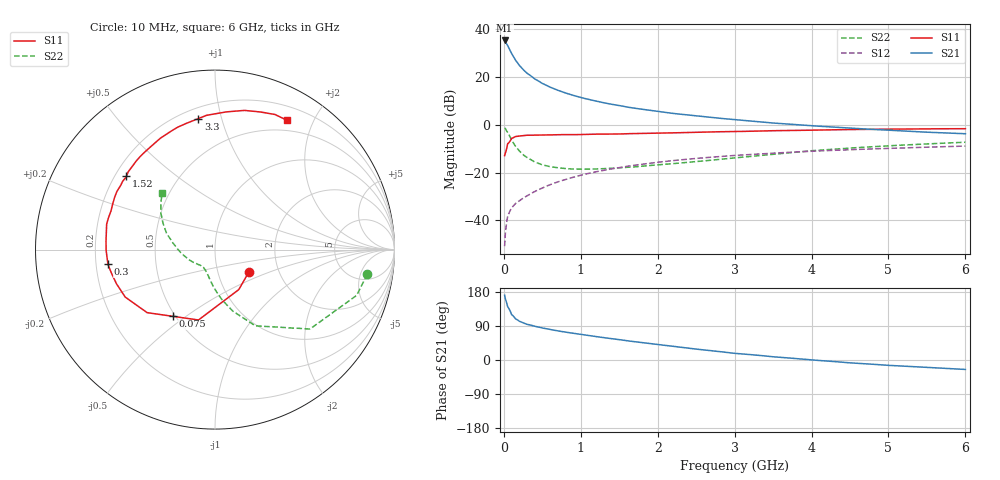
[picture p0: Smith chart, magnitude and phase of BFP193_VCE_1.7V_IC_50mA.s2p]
! Infineon Technologies  Discrete & RF Semiconductors
! BFP193
! VCE = 1.7 V,  IC =  50 mA
! Common Emitter S-Parameters:  Jan 2016
# GHz  S  MA  R  50
!  f  S11  S21  S12  S22
! GHz  MAG  ANG  MAG  ANG  MAG  ANG  MAG  ANG
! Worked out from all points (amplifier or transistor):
!   210 points, 10 MHz to 6 GHz, reference 50 ohm
!   highest |S21| = 35.2 dB at 10 MHz (marker M1)
!   |S21| within 3 dB of that: start of sweep to 63.62 MHz
!   unconditionally stable (mu >= 1): 416.4 MHz to 4.194 GHz
!   at 185 MHz: K = 0.74, MSG = 28.9 dB, |S12| = -32.1 dB
!   at 1.52 GHz: K = 1.10, MAG = 11.0 dB, |S12| = -17.8 dB
!   at 6 GHz: K = 0.97, MSG = 2.6 dB, |S12| = -8.9 dB
!   S11 on the Smith chart (normalised r, x): 10 MHz: 1.40, -0.37; 75 MHz: 0.48, -0.45; 300 MHz: 0.25, -0.06; 1.52 GHz: 0.25, +0.34; 3.3 GHz: 0.27, +0.84; 6 GHz: 0.36, +1.64
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0.01  0.2264 -34.0  57.6 170.9  0.0029 79.9  0.8596 -9.2
0.02  0.2592 -59.2  54.64 161.3  0.0054 76.0  0.8294 -17.9
0.05  0.4028 -103.2  45.07 140.6  0.0122 64.6  0.6898 -39.9
0.075  0.4398 -122.3  37.4 132.3  0.0152 59.6  0.5746 -49.0
0.1  0.5161 -137.1  30.89 120.2  0.0182 56.2  0.4806 -62.1
0.15  0.5657 -152.1  22.46 109.1  0.0224 54.4  0.3564 -73.9
0.2  0.5809 -160.8  17.52 102.4  0.0257 56.7  0.2846 -81.8
0.26  0.5945 -168.7  13.73 97.0  0.0299 58.5  0.23 -88.7
0.3  0.6021 -172.2  11.97 94.2  0.0326 60.0  0.2073 -92.5
0.4  0.6064 -179.5  9.098 89.0  0.04 62.7  0.1671 -100.2
0.5  0.609 175.6  7.293 84.5  0.0476 63.8  0.1452 -106.1
0.6  0.6124 171.1  6.107 80.6  0.0557 64.6  0.1332 -111.3
0.8  0.6194 163.2  4.608 73.6  0.0717 64.2  0.1213 -119.6
1.02  0.6251 155.3  3.64 67.0  0.0895 63.3  0.1177 -126.4
1.3  0.635 146.2  2.87 58.9  0.1117 60.7  0.1205 -134.4
1.52  0.6411 140.3  2.482 53.2  0.1285 58.0  0.1265 -139.9
2.02  0.6689 126.5  1.875 40.5  0.1655 51.7  0.1455 -153.4
3.1  0.7248 101.1  1.233 16.0  0.2331 37.4  0.2097 178.6
3.3  0.7356 97.3  1.157 12.5  0.2438 34.9  0.2247 174.1
4.1  0.7732 83.9  0.93 -1.3  0.2839 25.0  0.2936 159.3
5.1  0.8099 70.6  0.753 -15.1  0.3243 13.6  0.3695 144.6
6  0.8248 61.0  0.648 -24.9  0.3578 3.8  0.4307 133.2
